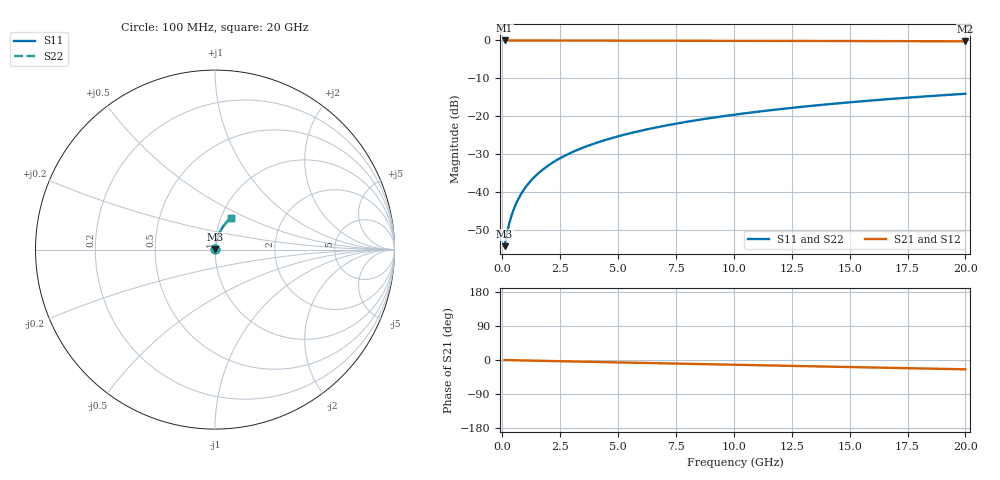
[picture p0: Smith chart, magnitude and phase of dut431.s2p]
! Touchstone file exported from HFSS 2026.1.0
!  File:  C:/ffzhzh/LocalFiles/Ansys_Project_Files/temp_train_TMRDL_431_1783005454_46388.aedt
!  Generated:  11:18:56 PM Jul  2, 2026
!  Design:  TMRDL
!  Project:  temp_train_TMRDL_431_1783005454_46388
! Variables:
!  h_bsmrdl = 2um
!  h_ox = 20um
!  h_rdl = 5um
!  h_sub = 80um
!  h_tmrdl = 5.63um
!  h_tsv = 80um
!  h_via = 3um
!  l_bsmrdl = 300um
!  l_sub = 773.75um
!  l_tmrdl = 373.75um
!  m_sub = 200um
!  pitch = 35.55um
!  r_tsv = 6um
!  s_tmrdl = 10um
!  w_bsmrdl = 18um
!  w_sub = 500um
!  w_tmrdl = 17.73um
!  x_tsv_center1 = 382.615um
!  x_tsv_center2 = 700.615um
!  x_tsv_center3 = 1092.095um
!  x_tsv_center4 = 1410.095um
!  x_tsv_center5 = 1801.575um
!  x_tsv_center6 = 2119.575um
# GHz S MA R 50.000000
! Terminal data exported
! Port[1] = TM_RDL1_1_T1
! Port[2] = TM_RDL1_1_T2
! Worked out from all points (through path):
!   200 points, 100 MHz to 20 GHz, reference 50 ohm
!   highest |S21| = -0.01 dB at 100 MHz (marker M1); lowest = -0.2 dB at 20 GHz (marker M2)
!   group delay of S21, straight-line fit = 3.41 ps
!   lowest |S11| = -54.4 dB at 100 MHz (marker M3), VSWR 1.00, Z = 50.1 + j0.124 ohm
!   |S11| at or under -10 dB: start of sweep to end of sweep
!   |S22| runs from -54.4 to -14.1 dB; largest |S21 - S12| = 8.3e-15
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0.1  0.001916 40.2  0.9985 -0.1  0.9985 -0.1  0.001916 40.2
! Gamma 0 0 0 0
! Port Impedance 50 0 50 0
0.2  0.002831 56.7  0.9984 -0.3  0.9984 -0.3  0.002835 56.7
0.3  0.003829 65.0  0.9984 -0.4  0.9984 -0.4  0.003833 65.0
0.4  0.004871 70.0  0.9983 -0.5  0.9983 -0.5  0.004875 70.0
0.5  0.005941 73.2  0.9982 -0.7  0.9982 -0.7  0.005944 73.2
0.6  0.007027 75.4  0.9982 -0.8  0.9982 -0.8  0.007029 75.4
0.8  0.009223 78.1  0.9981 -1.0  0.9981 -1.0  0.009223 78.1
1.1  0.01254 80.1  0.998 -1.4  0.998 -1.4  0.01254 80.1
1.3  0.01475 80.8  0.9979 -1.7  0.9979 -1.7  0.01475 80.8
1.5  0.01695 81.2  0.9978 -1.9  0.9978 -1.9  0.01695 81.2
1.8  0.02025 81.5  0.9976 -2.3  0.9976 -2.3  0.02024 81.5
2.1  0.02352 81.6  0.9973 -2.7  0.9973 -2.7  0.02351 81.6
2.7  0.02999 81.4  0.9969 -3.5  0.9969 -3.5  0.02999 81.4
3.5  0.03848 80.8  0.9961 -4.5  0.9961 -4.5  0.03848 80.8
4.2  0.0458 80.2  0.9954 -5.4  0.9954 -5.4  0.0458 80.2
5  0.05407 79.5  0.9946 -6.4  0.9946 -6.4  0.05407 79.5
6.8  0.07241 77.7  0.9926 -8.6  0.9926 -8.6  0.07241 77.6
8.3  0.08745 76.1  0.9909 -10.4  0.9909 -10.4  0.08745 76.1
10.1  0.1053 74.2  0.9886 -12.7  0.9886 -12.7  0.1053 74.1
13.4  0.1371 70.5  0.9838 -16.7  0.9838 -16.7  0.1371 70.5
16.7  0.1679 66.8  0.9784 -20.7  0.9784 -20.7  0.1679 66.8
20  0.1975 63.1  0.9723 -24.6  0.9723 -24.6  0.1975 63.1
